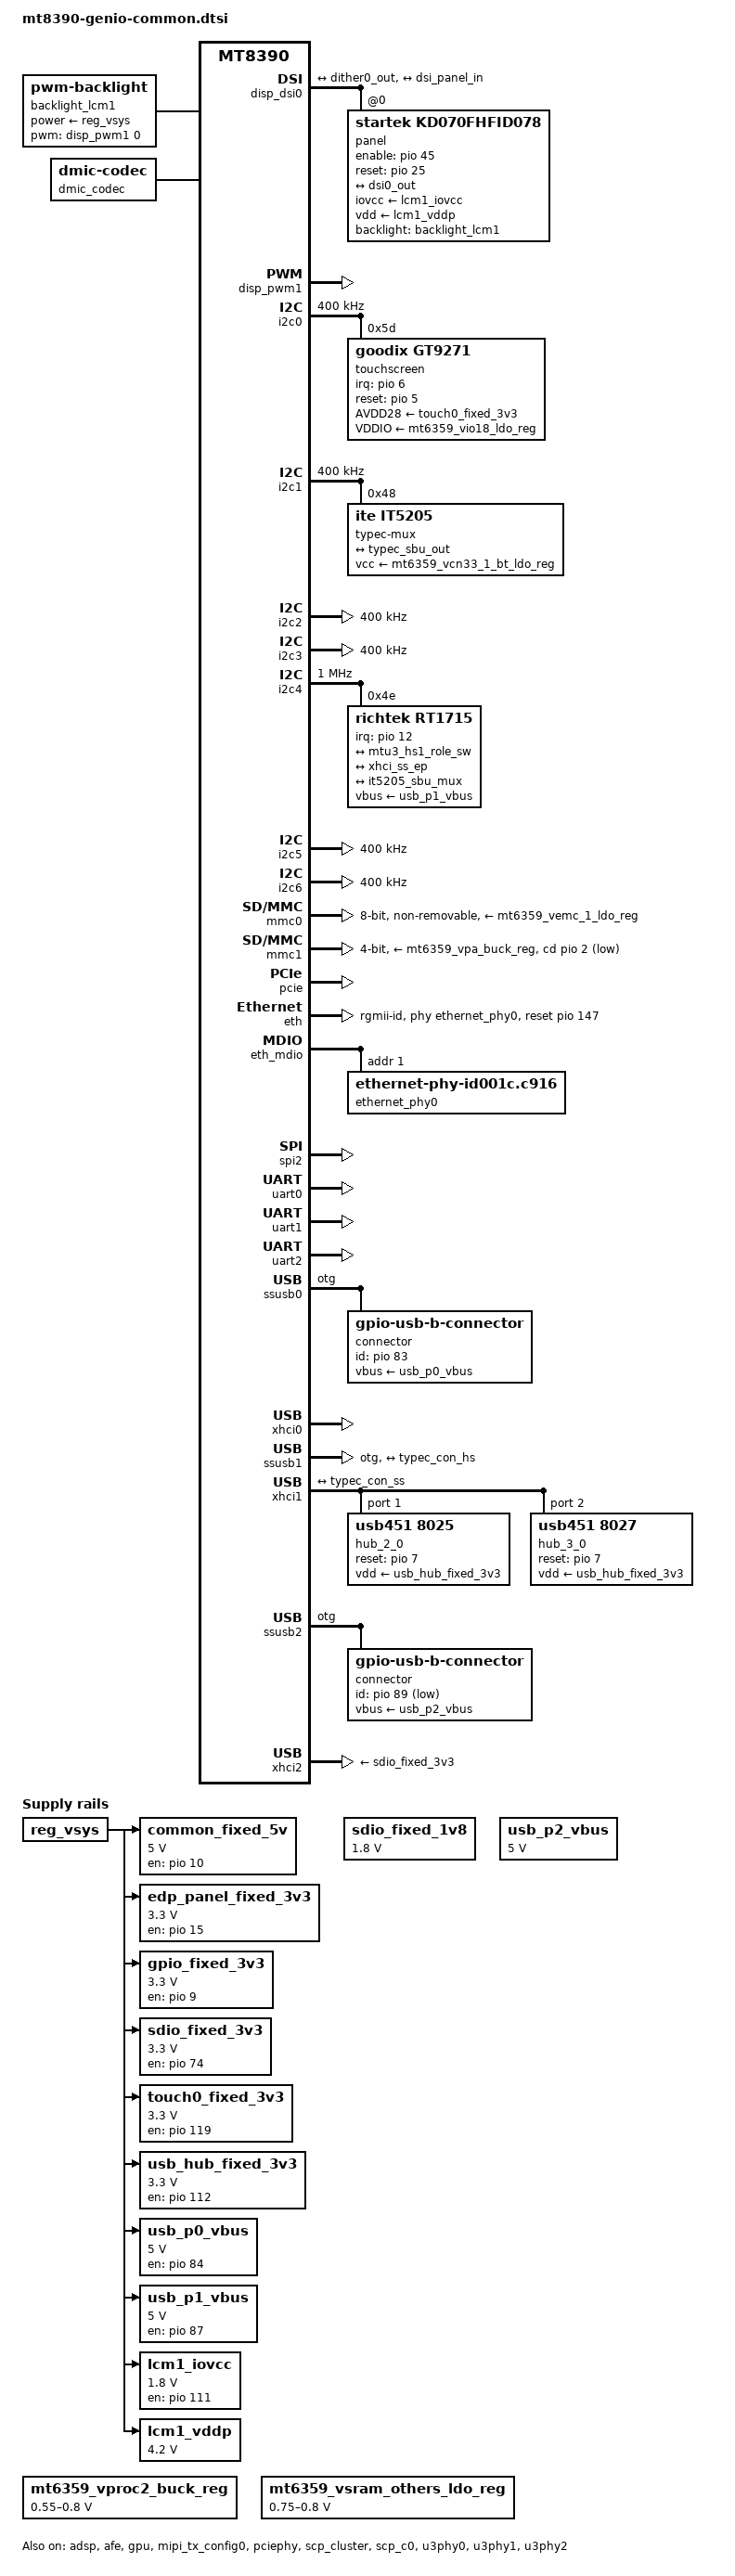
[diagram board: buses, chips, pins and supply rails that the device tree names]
// SPDX-License-Identifier: (GPL-2.0 OR MIT)
/*
 * Copyright (C) 2023 MediaTek Inc.
 * Author: Chris Chen <chris-qj.chen@mediatek.com>
 *         Pablo Sun <pablo.sun@mediatek.com>
 *         Macpaul Lin <macpaul.lin@mediatek.com>
 *
 * Copyright (C) 2025 Collabora Ltd.
 *                    Louis-Alexis Eyraud <louisalexis.eyraud@collabora.com>
 *                    AngeloGioacchino Del Regno <angelogioacchino.delregno@collabora.com>   
 */

#include "mt6359.dtsi"
#include <dt-bindings/gpio/gpio.h>
#include <dt-bindings/input/input.h>
#include <dt-bindings/interrupt-controller/irq.h>
#include <dt-bindings/pinctrl/mediatek,mt8188-pinfunc.h>
#include <dt-bindings/regulator/mediatek,mt6360-regulator.h>
#include <dt-bindings/spmi/spmi.h>
#include <dt-bindings/usb/pd.h>

/ {
	aliases {
		dsi0 = &disp_dsi0;
		ethernet0 = &eth;
		i2c0 = &i2c0;
		i2c1 = &i2c1;
		i2c2 = &i2c2;
		i2c3 = &i2c3;
		i2c4 = &i2c4;
		i2c5 = &i2c5;
		i2c6 = &i2c6;
		mmc0 = &mmc0;
		mmc1 = &mmc1;
		serial0 = &uart0;
	};

	backlight_lcm1: backlight-lcm1 {
		compatible = "pwm-backlight";
		brightness-levels = <0 1023>;
		default-brightness-level = <576>;
		num-interpolated-steps = <1023>;
		power-supply = <&reg_vsys>;
		pwms = <&disp_pwm1 0 500000>;
	};

	chosen {
		stdout-path = "serial0:921600n8";
	};

	dmic_codec: dmic-codec {
		#sound-dai-cells = <0>;
		compatible = "dmic-codec";
		num-channels = <2>;
		wakeup-delay-ms = <30>;
	};

	firmware {
		optee {
			compatible = "linaro,optee-tz";
			method = "smc";
		};
	};
	reserved-memory {
		#address-cells = <2>;
		#size-cells = <2>;
		ranges;

		/*
		 * 12 MiB reserved for OP-TEE (BL32)
		 * +-----------------------+ 0x43e0_0000
		 * |      SHMEM 2MiB       |
		 * +-----------------------+ 0x43c0_0000
		 * |        | TA_RAM  8MiB |
		 * + TZDRAM +--------------+ 0x4340_0000
		 * |        | TEE_RAM 2MiB |
		 * +-----------------------+ 0x4320_0000
		 */
		optee_reserved: optee@43200000 {
			no-map;
			reg = <0 0x43200000 0 0x00c00000>;
		};

		scp_mem: memory@50000000 {
			compatible = "shared-dma-pool";
			reg = <0 0x50000000 0 0x2900000>;
			no-map;
		};

		/* 2 MiB reserved for ARM Trusted Firmware (BL31) */
		bl31_secmon_reserved: memory@54600000 {
			no-map;
			reg = <0 0x54600000 0x0 0x200000>;
		};

		apu_mem: memory@55000000 {
			compatible = "shared-dma-pool";
			reg = <0 0x55000000 0 0x1400000>; /* 20 MB */
		};

		vpu_mem: memory@57000000 {
			compatible = "shared-dma-pool";
			reg = <0 0x57000000 0 0x1400000>; /* 20 MB */
		};

		adsp_mem: memory@60000000 {
			compatible = "shared-dma-pool";
			reg = <0 0x60000000 0 0xf00000>;
			no-map;
		};

		afe_dma_mem: memory@60f00000 {
			compatible = "shared-dma-pool";
			reg = <0 0x60f00000 0 0x100000>;
			no-map;
		};

		adsp_dma_mem: memory@61000000 {
			compatible = "shared-dma-pool";
			reg = <0 0x61000000 0 0x100000>;
			no-map;
		};
	};

	common_fixed_5v: regulator-0 {
		compatible = "regulator-fixed";
		regulator-name = "vdd_5v";
		regulator-min-microvolt = <5000000>;
		regulator-max-microvolt = <5000000>;
		gpio = <&pio 10 GPIO_ACTIVE_HIGH>;
		enable-active-high;
		regulator-always-on;
		vin-supply = <&reg_vsys>;
	};

	edp_panel_fixed_3v3: regulator-1 {
		compatible = "regulator-fixed";
		regulator-name = "vedp_3v3";
		regulator-min-microvolt = <3300000>;
		regulator-max-microvolt = <3300000>;
		enable-active-high;
		gpio = <&pio 15 GPIO_ACTIVE_HIGH>;
		pinctrl-names = "default";
		pinctrl-0 = <&edp_panel_3v3_en_pins>;
		vin-supply = <&reg_vsys>;
	};

	gpio_fixed_3v3: regulator-2 {
		compatible = "regulator-fixed";
		regulator-name = "ext_3v3";
		regulator-min-microvolt = <3300000>;
		regulator-max-microvolt = <3300000>;
		gpio = <&pio 9 GPIO_ACTIVE_HIGH>;
		enable-active-high;
		regulator-always-on;
		vin-supply = <&reg_vsys>;
	};

	/* system wide 4.2V power rail from charger */
	reg_vsys: regulator-vsys {
		compatible = "regulator-fixed";
		regulator-name = "vsys";
		regulator-always-on;
		regulator-boot-on;
	};

	/* used by mmc2 */
	sdio_fixed_1v8: regulator-3 {
		compatible = "regulator-fixed";
		regulator-name = "vio18_conn";
		regulator-min-microvolt = <1800000>;
		regulator-max-microvolt = <1800000>;
		enable-active-high;
		regulator-always-on;
	};

	/* used by mmc2 */
	sdio_fixed_3v3: regulator-4 {
		compatible = "regulator-fixed";
		regulator-name = "wifi_3v3";
		regulator-min-microvolt = <3300000>;
		regulator-max-microvolt = <3300000>;
		gpio = <&pio 74 GPIO_ACTIVE_HIGH>;
		enable-active-high;
		regulator-always-on;
		vin-supply = <&reg_vsys>;
	};

	touch0_fixed_3v3: regulator-5 {
		compatible = "regulator-fixed";
		regulator-name = "vio33_tp1";
		regulator-min-microvolt = <3300000>;
		regulator-max-microvolt = <3300000>;
		gpio = <&pio 119 GPIO_ACTIVE_HIGH>;
		enable-active-high;
		vin-supply = <&reg_vsys>;
		pinctrl-names = "default";
		pinctrl-0 = <&touch_vreg_pins>;
	};

	usb_hub_fixed_3v3: regulator-6 {
		compatible = "regulator-fixed";
		regulator-name = "vhub_3v3";
		regulator-min-microvolt = <3300000>;
		regulator-max-microvolt = <3300000>;
		gpio = <&pio 112 GPIO_ACTIVE_HIGH>; /* HUB_3V3_EN */
		startup-delay-us = <10000>;
		enable-active-high;
		vin-supply = <&reg_vsys>;
	};

	usb_p0_vbus: regulator-7 {
		compatible = "regulator-fixed";
		regulator-name = "vbus_p0";
		regulator-min-microvolt = <5000000>;
		regulator-max-microvolt = <5000000>;
		gpio = <&pio 84 GPIO_ACTIVE_HIGH>;
		enable-active-high;
		vin-supply = <&reg_vsys>;
	};

	usb_p1_vbus: regulator-8 {
		compatible = "regulator-fixed";
		regulator-name = "vbus_p1";
		regulator-min-microvolt = <5000000>;
		regulator-max-microvolt = <5000000>;
		gpio = <&pio 87 GPIO_ACTIVE_HIGH>;
		enable-active-high;
		vin-supply = <&reg_vsys>;
	};

	/* used by ssusb2 */
	usb_p2_vbus: regulator-9 {
		compatible = "regulator-fixed";
		regulator-name = "vbus_p2";
		regulator-min-microvolt = <5000000>;
		regulator-max-microvolt = <5000000>;
		enable-active-high;
	};

	lcm1_iovcc: regulator-vio18-lcm1 {
		compatible = "regulator-fixed";
		regulator-name = "vio18_lcm1";
		regulator-min-microvolt = <1800000>;
		regulator-max-microvolt = <1800000>;
		enable-active-high;
		gpio = <&pio 111 GPIO_ACTIVE_HIGH>;
		pinctrl-names = "default";
		pinctrl-0 = <&dsi0_vreg_en_pins>;
		vin-supply = <&reg_vsys>;
	};

	lcm1_vddp: regulator-vsys-lcm1 {
		compatible = "regulator-fixed";
		regulator-name = "vsys_lcm1";
		regulator-min-microvolt = <4200000>;
		regulator-max-microvolt = <4200000>;
		regulator-always-on;
		regulator-boot-on;
		vin-supply = <&reg_vsys>;
	};
};

&adsp {
	memory-region = <&adsp_dma_mem>, <&adsp_mem>;
	status = "okay";
};

&afe {
	memory-region = <&afe_dma_mem>;
	status = "okay";
};

&disp_dsi0 {
	#address-cells = <1>;
	#size-cells = <0>;
	status = "okay";

	panel@0 {
		compatible = "startek,kd070fhfid078", "himax,hx8279";
		reg = <0>;
		backlight = <&backlight_lcm1>;
		enable-gpios = <&pio 45 GPIO_ACTIVE_HIGH>;
		reset-gpios = <&pio 25 GPIO_ACTIVE_HIGH>;
		iovcc-supply = <&lcm1_iovcc>;
		vdd-supply = <&lcm1_vddp>;
		pinctrl-names = "default";
		pinctrl-0 = <&panel_default_pins>;

		port {
			dsi_panel_in: endpoint {
				remote-endpoint = <&dsi0_out>;
			};
		};
	};

	ports {
		#address-cells = <1>;
		#size-cells = <0>;

		port@0 {
			reg = <0>;
			dsi0_in: endpoint {
				remote-endpoint = <&dither0_out>;
			};
		};

		port@1 {
			reg = <1>;
			dsi0_out: endpoint {
				remote-endpoint = <&dsi_panel_in>;
			};
		};
	};
};

&disp_pwm1 {
	pinctrl-names = "default";
	pinctrl-0 = <&disp_pwm1_pins>;
	status = "okay";
};

&dither0_in {
	remote-endpoint = <&postmask0_out>;
};

&dither0_out {
	remote-endpoint = <&dsi0_in>;
};

&gamma0_out {
	remote-endpoint = <&postmask0_in>;
};

&gpu {
	mali-supply = <&mt6359_vproc2_buck_reg>;
	status = "okay";
};

&i2c0 {
	pinctrl-names = "default";
	pinctrl-0 = <&i2c0_pins>;
	clock-frequency = <400000>;
	status = "okay";

	touchscreen@5d {
		compatible = "goodix,gt9271";
		reg = <0x5d>;
		interrupt-parent = <&pio>;
		interrupts-extended = <&pio 6 IRQ_TYPE_EDGE_RISING>;
		irq-gpios = <&pio 6 GPIO_ACTIVE_HIGH>;
		reset-gpios = <&pio 5 GPIO_ACTIVE_HIGH>;
		AVDD28-supply = <&touch0_fixed_3v3>;
		VDDIO-supply = <&mt6359_vio18_ldo_reg>;
		pinctrl-names = "default";
		pinctrl-0 = <&touch_pins>;
	};
};

&i2c1 {
	pinctrl-names = "default";
	pinctrl-0 = <&i2c1_pins>;
	clock-frequency = <400000>;
	status = "okay";

	typec-mux@48 {
		compatible = "ite,it5205";
		reg = <0x48>;

		mode-switch;
		orientation-switch;

		vcc-supply = <&mt6359_vcn33_1_bt_ldo_reg>;

		port {
			it5205_sbu_mux: endpoint {
				remote-endpoint = <&typec_sbu_out>;
			};
		};
	};
};

&i2c2 {
	pinctrl-names = "default";
	pinctrl-0 = <&i2c2_pins>;
	clock-frequency = <400000>;
	status = "okay";
};

&i2c3 {
	pinctrl-names = "default";
	pinctrl-0 = <&i2c3_pins>;
	clock-frequency = <400000>;
	status = "okay";
};

&i2c4 {
	pinctrl-names = "default";
	pinctrl-0 = <&i2c4_pins>;
	clock-frequency = <1000000>;
	status = "okay";

	rt1715@4e {
		compatible = "richtek,rt1715";
		reg = <0x4e>;
		interrupts-extended = <&pio 12 IRQ_TYPE_LEVEL_LOW>;
		pinctrl-names = "default";
		pinctrl-0 = <&tcpci_int_pins>;
		vbus-supply = <&usb_p1_vbus>;

		connector {
			compatible = "usb-c-connector";
			label = "USB-C";
			data-role = "dual";
			op-sink-microwatt = <10000000>;
			power-role = "dual";
			try-power-role  = "sink";
			pd-revision = /bits/ 8 <0x03 0x00 0x01 0x08>;

			sink-pdos = <PDO_FIXED(5000, 2000,
					       PDO_FIXED_DUAL_ROLE |
					       PDO_FIXED_DATA_SWAP)>;
			source-pdos = <PDO_FIXED(5000, 2000,
						 PDO_FIXED_DUAL_ROLE |
						 PDO_FIXED_DATA_SWAP)>;

			altmodes {
				displayport {
					svid = /bits/ 16 <0xff01>;
					vdo = <0x001c1c47>;
				};
			};

			ports {
				#address-cells = <1>;
				#size-cells = <0>;

				port@0 {
					reg = <0>;
					typec_con_hs: endpoint {
						remote-endpoint = <&mtu3_hs1_role_sw>;
					};
				};

				port@1 {
					reg = <1>;
					typec_con_ss: endpoint {
						remote-endpoint = <&xhci_ss_ep>;
					};
				};

				port@2 {
					reg = <2>;
					typec_sbu_out: endpoint {
						remote-endpoint = <&it5205_sbu_mux>;
					};

				};
			};
		};
	};
};

&i2c5 {
	pinctrl-names = "default";
	pinctrl-0 = <&i2c5_pins>;
	clock-frequency = <400000>;
	status = "okay";
};

&i2c6 {
	pinctrl-names = "default";
	pinctrl-0 = <&i2c6_pins>;
	clock-frequency = <400000>;
	status = "okay";
};

&mfg0 {
	domain-supply = <&mt6359_vproc2_buck_reg>;
};

&mfg1 {
	domain-supply = <&mt6359_vsram_others_ldo_reg>;
};

&mipi_tx_config0 {
	status = "okay";
};

&mmc0 {
	status = "okay";
	pinctrl-names = "default", "state_uhs";
	pinctrl-0 = <&mmc0_default_pins>;
	pinctrl-1 = <&mmc0_uhs_pins>;
	bus-width = <8>;
	max-frequency = <200000000>;
	cap-mmc-highspeed;
	mmc-hs200-1_8v;
	mmc-hs400-1_8v;
	supports-cqe;
	cap-mmc-hw-reset;
	no-sdio;
	no-sd;
	hs400-ds-delay = <0x1481b>;
	vmmc-supply = <&mt6359_vemc_1_ldo_reg>;
	vqmmc-supply = <&mt6359_vufs_ldo_reg>;
	non-removable;
};

&mmc1 {
	status = "okay";
	pinctrl-names = "default", "state_uhs";
	pinctrl-0 = <&mmc1_default_pins>;
	pinctrl-1 = <&mmc1_uhs_pins>;
	bus-width = <4>;
	max-frequency = <200000000>;
	cap-sd-highspeed;
	sd-uhs-sdr50;
	sd-uhs-sdr104;
	no-mmc;
	no-sdio;
	cd-gpios = <&pio 2 GPIO_ACTIVE_LOW>;
	vmmc-supply = <&mt6359_vpa_buck_reg>;
	vqmmc-supply = <&mt6359_vsim1_ldo_reg>;
};

&mt6359_vbbck_ldo_reg {
	regulator-always-on;
};

&mt6359_vcn18_ldo_reg {
	regulator-name = "vcn18_pmu";
	regulator-always-on;
};

&mt6359_vcn33_2_bt_ldo_reg {
	regulator-name = "vcn33_2_pmu";
	regulator-always-on;
};

&mt6359_vcore_buck_reg {
	regulator-name = "dvdd_proc_l";
	regulator-always-on;
};

&mt6359_vgpu11_buck_reg {
	regulator-name = "dvdd_core";
	regulator-always-on;
};

&mt6359_vpa_buck_reg {
	regulator-name = "vpa_pmu";
	regulator-max-microvolt = <3100000>;
};

&mt6359_vproc2_buck_reg {
	/* The name "vgpu" is required by mtk-regulator-coupler */
	regulator-name = "vgpu";
	regulator-min-microvolt = <550000>;
	regulator-max-microvolt = <800000>;
	regulator-coupled-with = <&mt6359_vsram_others_ldo_reg>;
	regulator-coupled-max-spread = <6250>;
};

&mt6359_vpu_buck_reg {
	regulator-name = "dvdd_adsp";
	regulator-always-on;
};

&mt6359_vrf12_ldo_reg {
	regulator-name = "va12_abb2_pmu";
	regulator-always-on;
};

&mt6359_vsim1_ldo_reg {
	regulator-name = "vsim1_pmu";
	regulator-enable-ramp-delay = <480>;
};

&mt6359_vsram_others_ldo_reg {
	/* The name "vsram_gpu" is required by mtk-regulator-coupler */
	regulator-name = "vsram_gpu";
	regulator-min-microvolt = <750000>;
	regulator-max-microvolt = <800000>;
	regulator-coupled-with = <&mt6359_vproc2_buck_reg>;
	regulator-coupled-max-spread = <6250>;
};

&mt6359_vufs_ldo_reg {
	regulator-name = "vufs18_pmu";
	regulator-always-on;
};

&mt6359codec {
	mediatek,mic-type-0 = <1>; /* ACC */
	mediatek,mic-type-1 = <3>; /* DCC */
};

&ovl0_in {
	remote-endpoint = <&vdosys0_ep_main>;
};

&pcie {
	pinctrl-names = "default";
	pinctrl-0 = <&pcie_default_pins>;
	status = "okay";
};

&pciephy {
	status = "okay";
};

&pio {
	audio_default_pins: audio-default-pins {
		pins-cmd-dat {
			pinmux = <PINMUX_GPIO101__FUNC_O_AUD_CLK_MOSI>,
				 <PINMUX_GPIO102__FUNC_O_AUD_SYNC_MOSI>,
				 <PINMUX_GPIO103__FUNC_O_AUD_DAT_MOSI0>,
				 <PINMUX_GPIO104__FUNC_O_AUD_DAT_MOSI1>,
				 <PINMUX_GPIO105__FUNC_I0_AUD_DAT_MISO0>,
				 <PINMUX_GPIO106__FUNC_I0_AUD_DAT_MISO1>,
				 <PINMUX_GPIO107__FUNC_B0_I2SIN_MCK>,
				 <PINMUX_GPIO108__FUNC_B0_I2SIN_BCK>,
				 <PINMUX_GPIO109__FUNC_B0_I2SIN_WS>,
				 <PINMUX_GPIO110__FUNC_I0_I2SIN_D0>,
				 <PINMUX_GPIO114__FUNC_O_I2SO2_MCK>,
				 <PINMUX_GPIO115__FUNC_B0_I2SO2_BCK>,
				 <PINMUX_GPIO116__FUNC_B0_I2SO2_WS>,
				 <PINMUX_GPIO117__FUNC_O_I2SO2_D0>,
				 <PINMUX_GPIO118__FUNC_O_I2SO2_D1>,
				 <PINMUX_GPIO121__FUNC_B0_PCM_CLK>,
				 <PINMUX_GPIO122__FUNC_B0_PCM_SYNC>,
				 <PINMUX_GPIO124__FUNC_I0_PCM_DI>,
				 <PINMUX_GPIO125__FUNC_O_DMIC1_CLK>,
				 <PINMUX_GPIO126__FUNC_I0_DMIC1_DAT>,
				 <PINMUX_GPIO128__FUNC_O_DMIC2_CLK>,
				 <PINMUX_GPIO129__FUNC_I0_DMIC2_DAT>;
		};
	};

	disp_pwm1_pins: disp-pwm1-pins {
		pins-pwm {
			pinmux = <PINMUX_GPIO30__FUNC_O_DISP_PWM1>;
		};
	};

	dptx_pins: dptx-pins {
		pins-cmd-dat {
			pinmux = <PINMUX_GPIO46__FUNC_I0_DP_TX_HPD>;
			bias-pull-up;
		};
	};

	edp_panel_3v3_en_pins: edp-panel-3v3-en-pins {
		pins1 {
			pinmux = <PINMUX_GPIO15__FUNC_B_GPIO15>;
			output-high;
		};
	};

	eth_default_pins: eth-default-pins {
		pins-cc {
			pinmux = <PINMUX_GPIO139__FUNC_B0_GBE_TXC>,
				 <PINMUX_GPIO140__FUNC_I0_GBE_RXC>,
				 <PINMUX_GPIO141__FUNC_I0_GBE_RXDV>,
				 <PINMUX_GPIO142__FUNC_O_GBE_TXEN>;
			drive-strength = <8>;
		};

		pins-mdio {
			pinmux = <PINMUX_GPIO143__FUNC_O_GBE_MDC>,
				 <PINMUX_GPIO144__FUNC_B1_GBE_MDIO>;
			drive-strength = <8>;
			input-enable;
		};

		pins-power {
			pinmux = <PINMUX_GPIO145__FUNC_B_GPIO145>,
				 <PINMUX_GPIO146__FUNC_B_GPIO146>;
			output-high;
		};

		pins-rxd {
			pinmux = <PINMUX_GPIO135__FUNC_I0_GBE_RXD3>,
				 <PINMUX_GPIO136__FUNC_I0_GBE_RXD2>,
				 <PINMUX_GPIO137__FUNC_I0_GBE_RXD1>,
				 <PINMUX_GPIO138__FUNC_I0_GBE_RXD0>;
			drive-strength = <8>;
		};

		pins-txd {
			pinmux = <PINMUX_GPIO131__FUNC_O_GBE_TXD3>,
				 <PINMUX_GPIO132__FUNC_O_GBE_TXD2>,
				 <PINMUX_GPIO133__FUNC_O_GBE_TXD1>,
				 <PINMUX_GPIO134__FUNC_O_GBE_TXD0>;
			drive-strength = <8>;
		};
	};

	eth_sleep_pins: eth-sleep-pins {
		pins-cc {
			pinmux = <PINMUX_GPIO139__FUNC_B_GPIO139>,
				 <PINMUX_GPIO140__FUNC_B_GPIO140>,
				 <PINMUX_GPIO141__FUNC_B_GPIO141>,
				 <PINMUX_GPIO142__FUNC_B_GPIO142>;
		};

		pins-mdio {
			pinmux = <PINMUX_GPIO143__FUNC_B_GPIO143>,
				 <PINMUX_GPIO144__FUNC_B_GPIO144>;
			input-disable;
			bias-disable;
		};

		pins-rxd {
			pinmux = <PINMUX_GPIO135__FUNC_B_GPIO135>,
				 <PINMUX_GPIO136__FUNC_B_GPIO136>,
				 <PINMUX_GPIO137__FUNC_B_GPIO137>,
				 <PINMUX_GPIO138__FUNC_B_GPIO138>;
		};

		pins-txd {
			pinmux = <PINMUX_GPIO131__FUNC_B_GPIO131>,
				 <PINMUX_GPIO132__FUNC_B_GPIO132>,
				 <PINMUX_GPIO133__FUNC_B_GPIO133>,
				 <PINMUX_GPIO134__FUNC_B_GPIO134>;
		};
	};

	i2c0_pins: i2c0-pins {
		pins {
			pinmux = <PINMUX_GPIO56__FUNC_B1_SDA0>,
				 <PINMUX_GPIO55__FUNC_B1_SCL0>;
			bias-pull-up = <MTK_PULL_SET_RSEL_011>;
			drive-strength-microamp = <1000>;
		};
	};

	i2c1_pins: i2c1-pins {
		pins {
			pinmux = <PINMUX_GPIO58__FUNC_B1_SDA1>,
				 <PINMUX_GPIO57__FUNC_B1_SCL1>;
			bias-pull-up = <MTK_PULL_SET_RSEL_011>;
			drive-strength-microamp = <1000>;
		};
	};

	i2c2_pins: i2c2-pins {
		pins {
			pinmux = <PINMUX_GPIO60__FUNC_B1_SDA2>,
				 <PINMUX_GPIO59__FUNC_B1_SCL2>;
			bias-pull-up = <MTK_PULL_SET_RSEL_011>;
			drive-strength-microamp = <1000>;
		};
	};

	i2c3_pins: i2c3-pins {
		pins {
			pinmux = <PINMUX_GPIO62__FUNC_B1_SDA3>,
				 <PINMUX_GPIO61__FUNC_B1_SCL3>;
			bias-pull-up = <MTK_PULL_SET_RSEL_011>;
			drive-strength-microamp = <1000>;
		};
	};

	i2c4_pins: i2c4-pins {
		pins {
			pinmux = <PINMUX_GPIO64__FUNC_B1_SDA4>,
				 <PINMUX_GPIO63__FUNC_B1_SCL4>;
			bias-pull-up = <MTK_PULL_SET_RSEL_011>;
			drive-strength-microamp = <1000>;
		};
	};

	i2c5_pins: i2c5-pins {
		pins {
			pinmux = <PINMUX_GPIO66__FUNC_B1_SDA5>,
				 <PINMUX_GPIO65__FUNC_B1_SCL5>;
			bias-pull-up = <MTK_PULL_SET_RSEL_011>;
			drive-strength-microamp = <1000>;
		};
	};

	i2c6_pins: i2c6-pins {
		pins {
			pinmux = <PINMUX_GPIO68__FUNC_B1_SDA6>,
				 <PINMUX_GPIO67__FUNC_B1_SCL6>;
			bias-pull-up = <MTK_PULL_SET_RSEL_011>;
			drive-strength-microamp = <1000>;
		};
	};

	gpio_key_pins: gpio-key-pins {
		pins {
			pinmux = <PINMUX_GPIO42__FUNC_B1_KPCOL0>,
				 <PINMUX_GPIO43__FUNC_B1_KPCOL1>,
				 <PINMUX_GPIO44__FUNC_B1_KPROW0>;
		};
	};

	mmc0_default_pins: mmc0-default-pins {
		pins-clk {
			pinmux = <PINMUX_GPIO157__FUNC_B1_MSDC0_CLK>;
			drive-strength = <6>;
			bias-pull-down = <MTK_PUPD_SET_R1R0_10>;
		};

		pins-cmd-dat {
			pinmux = <PINMUX_GPIO161__FUNC_B1_MSDC0_DAT0>,
				 <PINMUX_GPIO160__FUNC_B1_MSDC0_DAT1>,
				 <PINMUX_GPIO159__FUNC_B1_MSDC0_DAT2>,
				 <PINMUX_GPIO158__FUNC_B1_MSDC0_DAT3>,
				 <PINMUX_GPIO154__FUNC_B1_MSDC0_DAT4>,
				 <PINMUX_GPIO153__FUNC_B1_MSDC0_DAT5>,
				 <PINMUX_GPIO152__FUNC_B1_MSDC0_DAT6>,
				 <PINMUX_GPIO151__FUNC_B1_MSDC0_DAT7>,
				 <PINMUX_GPIO156__FUNC_B1_MSDC0_CMD>;
			input-enable;
			drive-strength = <6>;
			bias-pull-up = <MTK_PUPD_SET_R1R0_01>;
		};

		pins-rst {
			pinmux = <PINMUX_GPIO155__FUNC_O_MSDC0_RSTB>;
			drive-strength = <6>;
			bias-pull-up = <MTK_PUPD_SET_R1R0_01>;
		};
	};

	mmc0_uhs_pins: mmc0-uhs-pins {
		pins-clk {
			pinmux = <PINMUX_GPIO157__FUNC_B1_MSDC0_CLK>;
			drive-strength = <8>;
			bias-pull-down = <MTK_PUPD_SET_R1R0_10>;
		};

		pins-cmd-dat {
			pinmux = <PINMUX_GPIO161__FUNC_B1_MSDC0_DAT0>,
				 <PINMUX_GPIO160__FUNC_B1_MSDC0_DAT1>,
				 <PINMUX_GPIO159__FUNC_B1_MSDC0_DAT2>,
				 <PINMUX_GPIO158__FUNC_B1_MSDC0_DAT3>,
				 <PINMUX_GPIO154__FUNC_B1_MSDC0_DAT4>,
				 <PINMUX_GPIO153__FUNC_B1_MSDC0_DAT5>,
				 <PINMUX_GPIO152__FUNC_B1_MSDC0_DAT6>,
				 <PINMUX_GPIO151__FUNC_B1_MSDC0_DAT7>,
				 <PINMUX_GPIO156__FUNC_B1_MSDC0_CMD>;
			input-enable;
			drive-strength = <8>;
			bias-pull-up = <MTK_PUPD_SET_R1R0_01>;
		};

		pins-ds {
			pinmux = <PINMUX_GPIO162__FUNC_B0_MSDC0_DSL>;
			drive-strength = <8>;
			bias-pull-down = <MTK_PUPD_SET_R1R0_10>;
		};

		pins-rst {
			pinmux = <PINMUX_GPIO155__FUNC_O_MSDC0_RSTB>;
			drive-strength = <8>;
			bias-pull-up = <MTK_PUPD_SET_R1R0_01>;
		};
	};

	mmc1_default_pins: mmc1-default-pins {
		pins-clk {
			pinmux = <PINMUX_GPIO164__FUNC_B1_MSDC1_CLK>;
			drive-strength = <6>;
			bias-pull-down = <MTK_PUPD_SET_R1R0_10>;
		};

		pins-cmd-dat {
			pinmux = <PINMUX_GPIO163__FUNC_B1_MSDC1_CMD>,
				 <PINMUX_GPIO165__FUNC_B1_MSDC1_DAT0>,
				 <PINMUX_GPIO166__FUNC_B1_MSDC1_DAT1>,
				 <PINMUX_GPIO167__FUNC_B1_MSDC1_DAT2>,
				 <PINMUX_GPIO168__FUNC_B1_MSDC1_DAT3>;
			input-enable;
			drive-strength = <6>;
			bias-pull-up = <MTK_PUPD_SET_R1R0_01>;
		};

		pins-insert {
			pinmux = <PINMUX_GPIO2__FUNC_B_GPIO2>;
			bias-pull-up;
		};
	};

	mmc1_uhs_pins: mmc1-uhs-pins {
		pins-clk {
			pinmux = <PINMUX_GPIO164__FUNC_B1_MSDC1_CLK>;
			drive-strength = <6>;
			bias-pull-down = <MTK_PUPD_SET_R1R0_10>;
		};

		pins-cmd-dat {
			pinmux = <PINMUX_GPIO163__FUNC_B1_MSDC1_CMD>,
				 <PINMUX_GPIO165__FUNC_B1_MSDC1_DAT0>,
				 <PINMUX_GPIO166__FUNC_B1_MSDC1_DAT1>,
				 <PINMUX_GPIO167__FUNC_B1_MSDC1_DAT2>,
				 <PINMUX_GPIO168__FUNC_B1_MSDC1_DAT3>;
			input-enable;
			drive-strength = <6>;
			bias-pull-up = <MTK_PUPD_SET_R1R0_01>;
		};
	};

	mmc2_default_pins: mmc2-default-pins {
		pins-clk {
			pinmux = <PINMUX_GPIO170__FUNC_B1_MSDC2_CLK>;
			drive-strength = <4>;
			bias-pull-down = <MTK_PUPD_SET_R1R0_10>;
		};

		pins-cmd-dat {
			pinmux = <PINMUX_GPIO169__FUNC_B1_MSDC2_CMD>,
				 <PINMUX_GPIO171__FUNC_B1_MSDC2_DAT0>,
				 <PINMUX_GPIO172__FUNC_B1_MSDC2_DAT1>,
				 <PINMUX_GPIO173__FUNC_B1_MSDC2_DAT2>,
				 <PINMUX_GPIO174__FUNC_B1_MSDC2_DAT3>;
			input-enable;
			drive-strength = <6>;
			bias-pull-up = <MTK_PUPD_SET_R1R0_01>;
		};

		pins-pcm {
			pinmux = <PINMUX_GPIO123__FUNC_O_PCM_DO>;
		};
	};

	mmc2_uhs_pins: mmc2-uhs-pins {
		pins-clk {
			pinmux = <PINMUX_GPIO170__FUNC_B1_MSDC2_CLK>;
			drive-strength = <4>;
			bias-pull-down = <MTK_PUPD_SET_R1R0_10>;
		};

		pins-cmd-dat {
			pinmux = <PINMUX_GPIO169__FUNC_B1_MSDC2_CMD>,
				 <PINMUX_GPIO171__FUNC_B1_MSDC2_DAT0>,
				 <PINMUX_GPIO172__FUNC_B1_MSDC2_DAT1>,
				 <PINMUX_GPIO173__FUNC_B1_MSDC2_DAT2>,
				 <PINMUX_GPIO174__FUNC_B1_MSDC2_DAT3>;
			input-enable;
			drive-strength = <6>;
			bias-pull-up = <MTK_PUPD_SET_R1R0_01>;
		};
	};

	mmc2_eint_pins: mmc2-eint-pins {
		pins-dat1 {
			pinmux = <PINMUX_GPIO172__FUNC_B_GPIO172>;
			input-enable;
			bias-pull-up = <MTK_PUPD_SET_R1R0_01>;
		};
	};

	mmc2_dat1_pins: mmc2-dat1-pins {
		pins-dat1 {
			pinmux = <PINMUX_GPIO172__FUNC_B1_MSDC2_DAT1>;
			input-enable;
			drive-strength = <6>;
			bias-pull-up = <MTK_PUPD_SET_R1R0_01>;
		};
	};

	dsi0_vreg_en_pins: dsi0-vreg-en-pins {
		pins-pwr-en {
			pinmux = <PINMUX_GPIO111__FUNC_B_GPIO111>;
			output-low;
		};
	};

	panel_default_pins: panel-default-pins {
		pins-rst {
			pinmux = <PINMUX_GPIO25__FUNC_B_GPIO25>;
			output-low;
		};

		pins-en {
			pinmux = <PINMUX_GPIO45__FUNC_B_GPIO45>;
			output-low;
		};
	};

	pcie_default_pins: pcie-default-pins {
		pins {
			pinmux = <PINMUX_GPIO47__FUNC_I1_WAKEN>,
				 <PINMUX_GPIO48__FUNC_O_PERSTN>,
				 <PINMUX_GPIO49__FUNC_B1_CLKREQN>;
			bias-pull-up;
		};
	};

	rt1715_int_pins: rt1715-int-pins {
		pins_cmd0_dat {
			pinmux = <PINMUX_GPIO12__FUNC_B_GPIO12>;
			bias-pull-up;
			input-enable;
		};
	};

	spi0_pins: spi0-pins {
		pins-spi {
			pinmux = <PINMUX_GPIO69__FUNC_O_SPIM0_CSB>,
				<PINMUX_GPIO70__FUNC_O_SPIM0_CLK>,
				<PINMUX_GPIO71__FUNC_B0_SPIM0_MOSI>,
				<PINMUX_GPIO72__FUNC_B0_SPIM0_MISO>;
			bias-disable;
		};
	};

	spi1_pins: spi1-pins {
		pins-spi {
			pinmux = <PINMUX_GPIO75__FUNC_O_SPIM1_CSB>,
				<PINMUX_GPIO76__FUNC_O_SPIM1_CLK>,
				<PINMUX_GPIO77__FUNC_B0_SPIM1_MOSI>,
				<PINMUX_GPIO78__FUNC_B0_SPIM1_MISO>;
			bias-disable;
		};
	};

	spi2_pins: spi2-pins {
		pins-spi {
			pinmux = <PINMUX_GPIO79__FUNC_O_SPIM2_CSB>,
				<PINMUX_GPIO80__FUNC_O_SPIM2_CLK>,
				<PINMUX_GPIO81__FUNC_B0_SPIM2_MOSI>,
				<PINMUX_GPIO82__FUNC_B0_SPIM2_MISO>;
			bias-disable;
		};
	};

	touch_vreg_pins: touch-avdd-pins {
		pins-power {
			pinmux = <PINMUX_GPIO120__FUNC_B_GPIO120>;
			output-high;
		};
	};

	touch_pins: touch-pins {
		pins-irq {
			pinmux = <PINMUX_GPIO6__FUNC_B_GPIO6>;
			input-enable;
			bias-disable;
		};

		pins-reset {
			pinmux = <PINMUX_GPIO5__FUNC_B_GPIO5>;
			output-high;
		};
	};

	tcpci_int_pins: tcpci-int-pins {
		pins-int-n {
			pinmux = <PINMUX_GPIO12__FUNC_B_GPIO12>;
			bias-pull-up;
			input-enable;
		};
	};

	uart0_pins: uart0-pins {
		pins {
			pinmux = <PINMUX_GPIO31__FUNC_O_UTXD0>,
				 <PINMUX_GPIO32__FUNC_I1_URXD0>;
			bias-pull-up;
		};
	};

	uart1_pins: uart1-pins {
		pins {
			pinmux = <PINMUX_GPIO33__FUNC_O_UTXD1>,
				 <PINMUX_GPIO34__FUNC_I1_URXD1>;
			bias-pull-up;
		};
	};

	uart2_pins: uart2-pins {
		pins {
			pinmux = <PINMUX_GPIO35__FUNC_O_UTXD2>,
				 <PINMUX_GPIO36__FUNC_I1_URXD2>;
			bias-pull-up;
		};
	};

	usb_default_pins: usb-default-pins {
		pins-iddig {
			pinmux = <PINMUX_GPIO83__FUNC_B_GPIO83>;
			input-enable;
			bias-pull-up;
		};

		pins-valid {
			pinmux = <PINMUX_GPIO85__FUNC_I0_VBUSVALID>;
			input-enable;
		};

		pins-vbus {
			pinmux = <PINMUX_GPIO84__FUNC_O_USB_DRVVBUS>;
			output-high;
		};

	};

	usb1_default_pins: usb1-default-pins {
		pins-valid {
			pinmux = <PINMUX_GPIO88__FUNC_I0_VBUSVALID_1P>;
			input-enable;
		};

		pins-usb-hub-3v3-en {
			pinmux = <PINMUX_GPIO112__FUNC_B_GPIO112>;
			output-high;
		};
	};

	usb2_default_pins: usb2-default-pins {
		pins-iddig {
			pinmux = <PINMUX_GPIO89__FUNC_B_GPIO89>;
			input-enable;
			bias-pull-up;
		};
	};

	wifi_pwrseq_pins: wifi-pwrseq-pins {
		pins-wifi-enable {
			pinmux = <PINMUX_GPIO127__FUNC_B_GPIO127>;
			output-low;
		};
	};
};

&eth {
	phy-mode ="rgmii-id";
	phy-handle = <&ethernet_phy0>;
	pinctrl-names = "default", "sleep";
	pinctrl-0 = <&eth_default_pins>;
	pinctrl-1 = <&eth_sleep_pins>;
	mediatek,mac-wol;
	snps,reset-gpio = <&pio 147 GPIO_ACTIVE_HIGH>;
	snps,reset-delays-us = <0 10000 10000>;
	status = "okay";
};

&eth_mdio {
	ethernet_phy0: ethernet-phy@1 {
		compatible = "ethernet-phy-id001c.c916";
		reg = <0x1>;
	};
};

&pmic {
	interrupt-parent = <&pio>;
	interrupts = <222 IRQ_TYPE_LEVEL_HIGH>;

	mt6359keys: keys {
		compatible = "mediatek,mt6359-keys";
		mediatek,long-press-mode = <1>;
		power-off-time-sec = <0>;

		power-key {
			linux,keycodes = <KEY_POWER>;
			wakeup-source;
		};

		home {
			linux,keycodes = <KEY_HOME>;
		};
	};
};

&postmask0_in {
	remote-endpoint = <&gamma0_out>;
};

&postmask0_out {
	remote-endpoint = <&dither0_in>;
};

&scp_cluster {
	status = "okay";
};

&scp_c0 {
	memory-region = <&scp_mem>;
	status = "okay";
};

&sound {
	compatible = "mediatek,mt8390-mt6359-evk", "mediatek,mt8188-mt6359-evb";
	model = "mt8390-evk";
	pinctrl-names = "default";
	pinctrl-0 = <&audio_default_pins>;
	audio-routing =
		"Headphone", "Headphone L",
		"Headphone", "Headphone R",
		"DMIC_INPUT", "AP DMIC",
		"AP DMIC", "AUDGLB",
		"AP DMIC", "MIC_BIAS_0",
		"AP DMIC", "MIC_BIAS_2";
	mediatek,adsp = <&adsp>;
	status = "okay";

	dai-link-0 {
		link-name = "DL_SRC_BE";

		codec {
			sound-dai = <&pmic 0>;
		};
	};

	dai-link-1 {
		link-name = "DMIC_BE";

		codec {
			sound-dai = <&dmic_codec>;
		};
	};
};

&spi2 {
	pinctrl-0 = <&spi2_pins>;
	pinctrl-names = "default";
	mediatek,pad-select = <0>;
	#address-cells = <1>;
	#size-cells = <0>;
	status = "okay";
};

&uart0 {
	pinctrl-0 = <&uart0_pins>;
	pinctrl-names = "default";
	status = "okay";
};

&uart1 {
	pinctrl-0 = <&uart1_pins>;
	pinctrl-names = "default";
	status = "okay";
};

&uart2 {
	pinctrl-0 = <&uart2_pins>;
	pinctrl-names = "default";
	status = "okay";
};

&vdosys0 {
	port {
		#address-cells = <1>;
		#size-cells = <0>;

		vdosys0_ep_main: endpoint@0 {
			reg = <0>;
			remote-endpoint = <&ovl0_in>;
		};
	};
};

&u3phy0 {
	status = "okay";
};

&u3phy1 {
	status = "okay";
};

&u3phy2 {
	status = "okay";
};

&ssusb0 {
	dr_mode = "otg";
	maximum-speed = "high-speed";
	usb-role-switch;
	wakeup-source;
	vusb33-supply = <&mt6359_vusb_ldo_reg>;
	pinctrl-0 = <&usb_default_pins>;
	pinctrl-names = "default";
	status = "okay";

	connector {
		compatible = "gpio-usb-b-connector", "usb-b-connector";
		type = "micro";
		id-gpios = <&pio 83 GPIO_ACTIVE_HIGH>;
		vbus-supply = <&usb_p0_vbus>;
	};
};

&xhci0 {
	status = "okay";
};

&ssusb1 {
	dr_mode = "otg";
	usb-role-switch;
	wakeup-source;
	vusb33-supply = <&mt6359_vusb_ldo_reg>;
	pinctrl-0 = <&usb1_default_pins>;
	pinctrl-names = "default";
	status = "okay";

	port {
		mtu3_hs1_role_sw: endpoint {
			remote-endpoint = <&typec_con_hs>;
		};
	};
};

&xhci1 {
	status = "okay";
	vusb33-supply = <&mt6359_vusb_ldo_reg>;
	#address-cells = <1>;
	#size-cells = <0>;

	hub_2_0: hub@1 {
		compatible = "usb451,8025";
		reg = <1>;
		peer-hub = <&hub_3_0>;
		reset-gpios = <&pio 7 GPIO_ACTIVE_HIGH>;
		vdd-supply = <&usb_hub_fixed_3v3>;
	};

	hub_3_0: hub@2 {
		compatible = "usb451,8027";
		reg = <2>;
		peer-hub = <&hub_2_0>;
		reset-gpios = <&pio 7 GPIO_ACTIVE_HIGH>;
		vdd-supply = <&usb_hub_fixed_3v3>;
	};

	port {
		xhci_ss_ep: endpoint {
			remote-endpoint = <&typec_con_ss>;
		};
	};
};

&ssusb2 {
	/*
	 * the ssusb2 controller is one but we got two ports : one is routed
	 * to the M.2 slot, the other is on the RPi header who does support
	 * full OTG.
	 * As the controller is shared between them, the role switch default
	 * mode is set to host to make any peripheral inserted in the M.2
	 * slot (i.e BT/WIFI module) be detected when the other port is
	 * unused.
	 */
	dr_mode = "otg";
	maximum-speed = "high-speed";
	role-switch-default-mode = "host";
	usb-role-switch;
	vusb33-supply = <&mt6359_vusb_ldo_reg>;
	wakeup-source;
	pinctrl-names = "default";
	pinctrl-0 = <&usb2_default_pins>;
	status = "okay";

	connector {
		compatible = "gpio-usb-b-connector", "usb-b-connector";
		type = "micro";
		id-gpios = <&pio 89 GPIO_ACTIVE_LOW>;
		vbus-supply = <&usb_p2_vbus>;
	};
};

&xhci2 {
	vusb33-supply = <&mt6359_vusb_ldo_reg>;
	vbus-supply = <&sdio_fixed_3v3>; /* wifi_3v3 */
	status = "okay";
};
